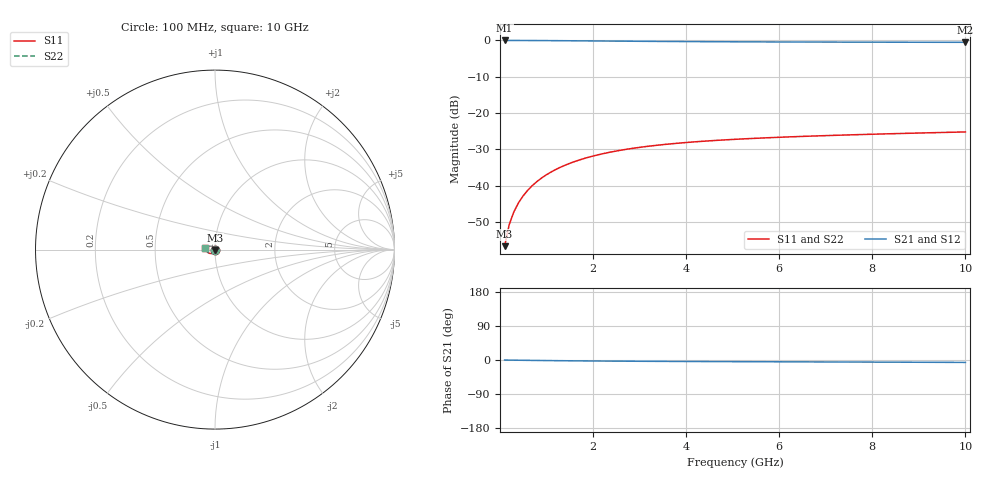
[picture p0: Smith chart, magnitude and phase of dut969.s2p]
! Touchstone file exported from HFSS 2024.1.0
!  File:  C:/UserFiles/LocalFiles/RDL_TSV_Batchsim/temp_TSV1_969_1779951007.aedt
!  Generated:  02:55:18 PM May 28, 2026
!  Design:  TSV1
!  Project:  temp_TSV1_969_1779951007
!  Setup:  Setup1
!  Solution:  Sweep
! Variables:
!  dtsv = 10.13um
!  hbump = 3um
!  htsv = 99.93um
!  lrdl = 252.1521522um
!  p = 40
!  p1 = 56.48um
!  t = 500um
!  trdl = 3um
!  wrdl = 24.89489489um
# GHz S MA R 50.000000
! Terminal data exported
! Port[1] = TSV22_T1
! Port[2] = TSV22_T2
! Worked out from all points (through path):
!   100 points, 100 MHz to 10 GHz, reference 50 ohm
!   highest |S21| = 0.00 dB at 100 MHz (marker M1); lowest = -0.5 dB at 10 GHz (marker M2)
!   lowest |S11| = -56.6 dB at 100 MHz (marker M3), VSWR 1.00, Z = 50 - j0.147 ohm
!   |S11| at or under -10 dB: start of sweep to end of sweep
!   |S22| runs from -56.6 to -25.2 dB; largest |S21 - S12| = 9e-15
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0.1  0.001472 -85.7  0.9998 -0.2  0.9998 -0.2  0.001472 -85.7
! Gamma 0 0 0 0
! Port Impedance 50 0 50 0
0.2  0.00293 -90.7  0.9996 -0.3  0.9996 -0.3  0.00293 -90.7
0.3  0.004388 -93.6  0.9993 -0.5  0.9993 -0.5  0.004388 -93.6
0.4  0.005839 -96.1  0.999 -0.6  0.999 -0.6  0.005839 -96.1
0.5  0.007279 -98.4  0.9985 -0.8  0.9985 -0.8  0.007279 -98.4
0.6  0.008704 -100.6  0.998 -0.9  0.998 -0.9  0.008704 -100.6
0.7  0.01011 -102.7  0.9973 -1.1  0.9973 -1.1  0.01011 -102.7
0.8  0.01149 -104.7  0.9966 -1.2  0.9966 -1.2  0.01149 -104.7
0.9  0.01285 -106.7  0.9959 -1.3  0.9959 -1.3  0.01285 -106.7
1.1  0.01547 -110.6  0.9941 -1.6  0.9941 -1.6  0.01547 -110.6
1.4  0.01917 -116.1  0.9912 -2.0  0.9912 -2.0  0.01917 -116.1
1.6  0.02146 -119.6  0.989 -2.2  0.989 -2.2  0.02146 -119.6
1.8  0.02361 -123.0  0.9868 -2.4  0.9868 -2.4  0.02361 -123.0
2.1  0.02657 -127.8  0.9835 -2.7  0.9835 -2.7  0.02657 -127.8
2.5  0.03005 -133.7  0.979 -3.0  0.979 -3.0  0.03005 -133.7
2.9  0.03305 -139.1  0.9748 -3.3  0.9748 -3.3  0.03305 -139.1
3.4  0.03621 -145.2  0.97 -3.6  0.97 -3.6  0.03621 -145.2
4.2  0.04024 -153.7  0.9636 -4.0  0.9636 -4.0  0.04024 -153.7
5.1  0.0437 -161.8  0.9579 -4.4  0.9579 -4.4  0.0437 -161.8
6.7  0.04825 -173.5  0.9508 -5.0  0.9508 -5.0  0.04825 -173.5
8.4  0.05196 176.5  0.9459 -5.7  0.9459 -5.7  0.05196 176.5
10  0.05501 168.6  0.9428 -6.4  0.9428 -6.4  0.05501 168.6
